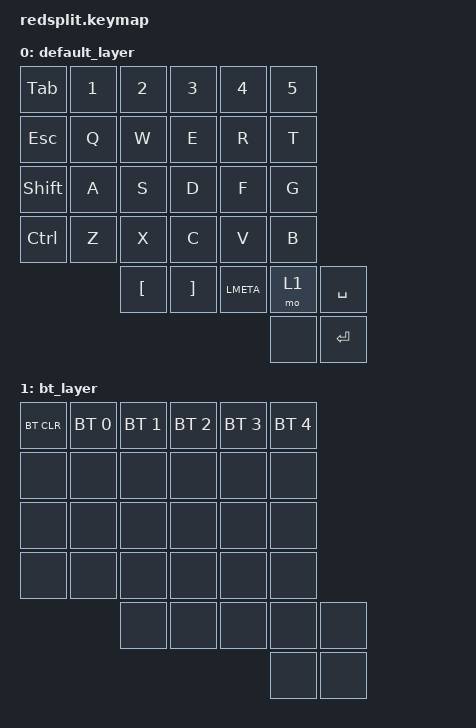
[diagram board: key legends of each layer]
#include <behaviors.dtsi>
#include <dt-bindings/zmk/keys.h>
#include <dt-bindings/zmk/bt.h>

/ {
    keymap {
        compatible = "zmk,keymap";

        default_layer {
            bindings = <
                &kp Tab     &kp N1      &kp N2      &kp N3      &kp N4      &kp N5
                &kp ESC     &kp Q       &kp W       &kp E       &kp R       &kp T
                &kp Shift   &kp A       &kp S       &kp D       &kp F       &kp G
                &kp Ctrl    &kp Z       &kp X       &kp C       &kp V       &kp B
                                        &kp LBKT    &kp RBKT    &kp LMETA   &mo 1       &kp SPACE
                                                                            &none       &kp ENTER
            >;
        };

        bt_layer {
            bindings = <
                &bt BT_CLR       &bt BT_SEL 0       &bt BT_SEL 1       &bt BT_SEL 2       &bt BT_SEL 3       &bt BT_SEL 4
                &none            &none              &none              &none              &none              &none
                &none            &none              &none              &none              &none              &none
                &none            &none              &none              &none              &none              &none
                                                    &none              &none              &none              &none              &none
                                                                                                             &none              &none
            >;
        };
    }
}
